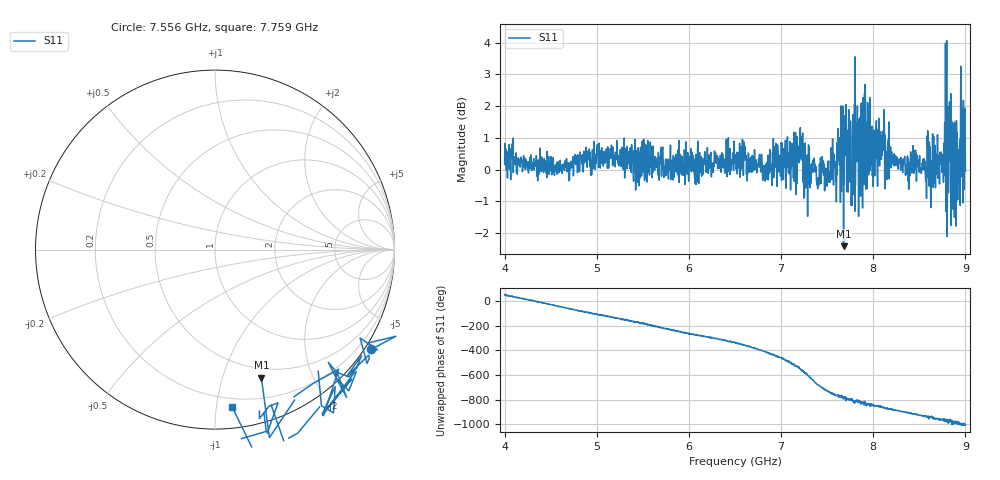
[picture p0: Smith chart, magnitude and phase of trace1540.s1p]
! Created with skrf 1.8.0 (http://scikit-rf.org).
# Hz S RI R 50.0
!freq ReS11 ImS11
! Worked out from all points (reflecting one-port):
!   1601 points, 4 GHz to 9 GHz, reference 50 ohm
!   lowest |S11| = -2.4 dB at 7.678 GHz (marker M1), VSWR 7.26, Z = 20.1 - j67.4 ohm
!   phase of S11 starts at 54 deg and turns -1054 deg over the sweep
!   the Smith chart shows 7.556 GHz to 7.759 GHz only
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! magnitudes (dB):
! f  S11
! 4 GHz  0.2
! 4.625 GHz  -0.1
! 5.25 GHz  0.1
! 5.875 GHz  0.2
! 6.5 GHz  0.4
! 6.825 GHz  0.1
! 7.125 GHz  0.5
! 7.209 GHz  1.3
! 7.262 GHz  0.8
! 7.356 GHz  0.2
! 7.409 GHz  -0.5
! 7.678 GHz  -2.4
! 7.75 GHz  -0.4
! 7.775 GHz  0.5
! 7.803 GHz  3.6
! 7.859 GHz  1.7
! 7.928 GHz  1.5
! 7.991 GHz  -0.2
! 8.097 GHz  0.5
! 8.15 GHz  -0.3
! 8.375 GHz  0.1
! 8.438 GHz  0.6
! 8.697 GHz  1.1
! 8.809 GHz  0.9
! 8.869 GHz  -0.5
! 8.919 GHz  0.0
! 8.972 GHz  0.7
! 9 GHz  0.0
